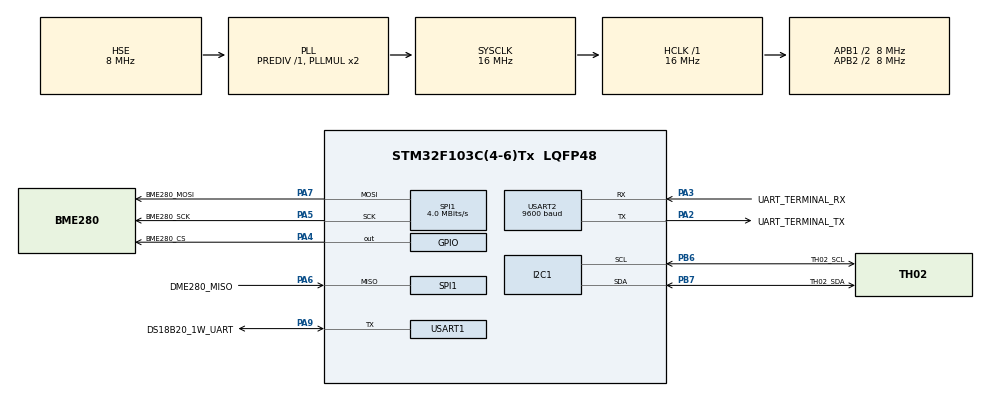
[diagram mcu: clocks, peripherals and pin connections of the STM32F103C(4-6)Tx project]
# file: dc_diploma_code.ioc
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Dma.Request0=USART2_RX
Dma.USART2_RX.0.Direction=DMA_PERIPH_TO_MEMORY
Dma.USART2_RX.0.Instance=DMA1_Channel6
Dma.USART2_RX.0.MemDataAlignment=DMA_MDATAALIGN_BYTE
Dma.USART2_RX.0.MemInc=DMA_MINC_ENABLE
Dma.USART2_RX.0.Mode=DMA_NORMAL
Dma.USART2_RX.0.PeriphDataAlignment=DMA_PDATAALIGN_BYTE
Dma.USART2_RX.0.PeriphInc=DMA_PINC_DISABLE
Dma.USART2_RX.0.Priority=DMA_PRIORITY_LOW
I2C1.NoStretchMode=I2C_NOSTRETCH_DISABLE
Mcu.Family=STM32F1
Mcu.Name=STM32F103C(4-6)Tx
Mcu.Package=LQFP48
NVIC.DMA1_Channel6_IRQn=true\:0\:0\:false\:false\:true\:false\:true\:true
NVIC.PriorityGroup=NVIC_PRIORITYGROUP_4
NVIC.USART2_IRQn=true\:0\:0\:false\:false\:true\:false\:true\:true
PA13.Mode=Serial_Wire
PA13.Signal=SYS_JTMS-SWDIO
PA14.Mode=Serial_Wire
PA14.Signal=SYS_JTCK-SWCLK
PA2.GPIO_Label=UART_TERMINAL_TX
PA2.Mode=Asynchronous
PA2.Signal=USART2_TX
PA3.GPIO_Label=UART_TERMINAL_RX
PA3.Mode=Asynchronous
PA3.Signal=USART2_RX
PA4.GPIO_Label=BME280_CS
PA4.Signal=GPIO_Output
PA5.GPIO_Label=BME280_SCK
PA5.Mode=Full_Duplex_Master
PA5.Signal=SPI1_SCK
PA6.GPIO_Label=DME280_MISO
PA6.Mode=Full_Duplex_Master
PA6.Signal=SPI1_MISO
PA7.GPIO_Label=BME280_MOSI
PA7.Mode=Full_Duplex_Master
PA7.Signal=SPI1_MOSI
PA9.GPIO_Label=DS18B20_1W_UART
PA9.Mode=Half_duplex(single_wire_mode)
PA9.Signal=USART1_TX
PB6.GPIO_Label=TH02_SCL
PB6.Mode=I2C
PB6.Signal=I2C1_SCL
PB7.GPIO_Label=TH02_SDA
PB7.Mode=I2C
PB7.Signal=I2C1_SDA
PD0-OSC_IN.Mode=HSE-External-Oscillator
PD0-OSC_IN.Signal=RCC_OSC_IN
PD1-OSC_OUT.Mode=HSE-External-Oscillator
PD1-OSC_OUT.Signal=RCC_OSC_OUT
ProjectManager.HeapSize=0x200
ProjectManager.StackSize=0x400
ProjectManager.TargetToolchain=CMake
RCC.AHBFreq_Value=16000000
RCC.APB1CLKDivider=RCC_HCLK_DIV2
RCC.APB1Freq_Value=8000000
RCC.APB1TimFreq_Value=16000000
RCC.APB2CLKDivider=RCC_HCLK_DIV2
RCC.APB2Freq_Value=8000000
RCC.APB2TimFreq_Value=16000000
RCC.HCLKFreq_Value=16000000
RCC.PLLSourceVirtual=RCC_PLLSOURCE_HSE
RCC.SYSCLKFreq_VALUE=16000000
RCC.SYSCLKSource=RCC_SYSCLKSOURCE_PLLCLK
RCC.USBFreq_Value=16000000
SPI1.CalculateBaudRate=4.0 MBits/s
SPI1.Direction=SPI_DIRECTION_2LINES
SPI1.Mode=SPI_MODE_MASTER
SPI1.VirtualType=VM_MASTER
USART1.VirtualMode=VM_ASYNC
USART2.BaudRate=9600
USART2.VirtualMode=VM_ASYNC
board=custom

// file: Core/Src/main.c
/* USER CODE BEGIN Header */
/**
  ******************************************************************************
  * @file           : main.c
  * @brief          : Main program body
  ******************************************************************************
  * @attention
  *
  * Copyright (c) 2025 STMicroelectronics.
  * All rights reserved.
  *
  * This software is licensed under terms that can be found in the LICENSE file
  * in the root directory of this software component.
  * If no LICENSE file comes with this software, it is provided AS-IS.
  *
  ******************************************************************************
  */
/* USER CODE END Header */
#include "main.h"
#include "ds18b20.h"
#include "uart_term.h"

I2C_HandleTypeDef hi2c1;

SPI_HandleTypeDef hspi1;

UART_HandleTypeDef huart1;
UART_HandleTypeDef huart2;
DMA_HandleTypeDef hdma_usart2_rx;

void SystemClock_Config(void);
static void MX_GPIO_Init(void);
static void MX_DMA_Init(void);
static void MX_I2C1_Init(void);
static void MX_SPI1_Init(void);
static void MX_USART1_UART_Init(void);
static void MX_USART2_UART_Init(void);

int main(void)
{

  /* USER CODE BEGIN 1 */
  DS18B20 temperatureSensor;
  float temp = 0;
  /* USER CODE END 1 */

  /* MCU Configuration--------------------------------------------------------*/

  /* Reset of all peripherals, Initializes the Flash interface and the Systick. */
  HAL_Init();

  /* Configure the system clock */
  SystemClock_Config();

  /* Initialize all configured peripherals */
  MX_GPIO_Init();
  MX_DMA_Init();
  MX_I2C1_Init();
  MX_SPI1_Init();
  MX_USART1_UART_Init();
  MX_USART2_UART_Init();
  /* USER CODE BEGIN 2 */

  DS18B20_Init(&temperatureSensor, &huart1);
  DS18B20_InitializationCommand(&temperatureSensor);
  DS18B20_ReadRom(&temperatureSensor);
  DS18B20_ReadScratchpad(&temperatureSensor);

  uint8_t settings[3];
  settings[0] = temperatureSensor.temperatureLimitHigh;
  settings[1] = temperatureSensor.temperatureLimitLow;
  settings[2] = DS18B20_12_BITS_CONFIG;
  DS18B20_InitializationCommand(&temperatureSensor);
  DS18B20_SkipRom(&temperatureSensor);
  DS18B20_WriteScratchpad(&temperatureSensor, settings);

  /* USER CODE END 2 */

  /* Infinite loop */
  while (1)
  {

    /* USER CODE BEGIN 3 */
    DS18B20_InitializationCommand(&temperatureSensor);
    DS18B20_SkipRom(&temperatureSensor);
    DS18B20_ConvertT(&temperatureSensor, DS18B20_DATA);
    DS18B20_InitializationCommand(&temperatureSensor);
    DS18B20_SkipRom(&temperatureSensor);
    DS18B20_ReadScratchpad(&temperatureSensor);
    temp = temperatureSensor.temperature;

    throw_data_uart_term(huart2,temp,0,0,0);
    HAL_Delay(1000);
  }
  /* USER CODE END 3 */
}

void SystemClock_Config(void)
{
  RCC_OscInitTypeDef RCC_OscInitStruct = {0};
  RCC_ClkInitTypeDef RCC_ClkInitStruct = {0};

  /** Initializes the RCC Oscillators according to the specified parameters
  * in the RCC_OscInitTypeDef structure.
  */
  RCC_OscInitStruct.OscillatorType = RCC_OSCILLATORTYPE_HSE;
  RCC_OscInitStruct.HSEState = RCC_HSE_ON;
  RCC_OscInitStruct.HSEPredivValue = RCC_HSE_PREDIV_DIV1;
  RCC_OscInitStruct.HSIState = RCC_HSI_ON;
  RCC_OscInitStruct.PLL.PLLState = RCC_PLL_ON;
  RCC_OscInitStruct.PLL.PLLSource = RCC_PLLSOURCE_HSE;
  RCC_OscInitStruct.PLL.PLLMUL = RCC_PLL_MUL2;
  if (HAL_RCC_OscConfig(&RCC_OscInitStruct) != HAL_OK)
  {
    Error_Handler();
  }

  /** Initializes the CPU, AHB and APB buses clocks
  */
  RCC_ClkInitStruct.ClockType = RCC_CLOCKTYPE_HCLK|RCC_CLOCKTYPE_SYSCLK
                              |RCC_CLOCKTYPE_PCLK1|RCC_CLOCKTYPE_PCLK2;
  RCC_ClkInitStruct.SYSCLKSource = RCC_SYSCLKSOURCE_PLLCLK;
  RCC_ClkInitStruct.AHBCLKDivider = RCC_SYSCLK_DIV1;
  RCC_ClkInitStruct.APB1CLKDivider = RCC_HCLK_DIV2;
  RCC_ClkInitStruct.APB2CLKDivider = RCC_HCLK_DIV2;

  if (HAL_RCC_ClockConfig(&RCC_ClkInitStruct, FLASH_LATENCY_0) != HAL_OK)
  {
    Error_Handler();
  }
}

static void MX_I2C1_Init(void)
{

  hi2c1.Instance = I2C1;
  hi2c1.Init.ClockSpeed = 100000;
  hi2c1.Init.DutyCycle = I2C_DUTYCYCLE_2;
  hi2c1.Init.OwnAddress1 = 0;
  hi2c1.Init.AddressingMode = I2C_ADDRESSINGMODE_7BIT;
  hi2c1.Init.DualAddressMode = I2C_DUALADDRESS_DISABLE;
  hi2c1.Init.OwnAddress2 = 0;
  hi2c1.Init.GeneralCallMode = I2C_GENERALCALL_DISABLE;
  hi2c1.Init.NoStretchMode = I2C_NOSTRETCH_DISABLE;
  if (HAL_I2C_Init(&hi2c1) != HAL_OK)
  {
    Error_Handler();
  }

}

static void MX_SPI1_Init(void)
{

  /* SPI1 parameter configuration*/
  hspi1.Instance = SPI1;
  hspi1.Init.Mode = SPI_MODE_MASTER;
  hspi1.Init.Direction = SPI_DIRECTION_2LINES;
  hspi1.Init.DataSize = SPI_DATASIZE_8BIT;
  hspi1.Init.CLKPolarity = SPI_POLARITY_LOW;
  hspi1.Init.CLKPhase = SPI_PHASE_1EDGE;
  hspi1.Init.NSS = SPI_NSS_SOFT;
  hspi1.Init.BaudRatePrescaler = SPI_BAUDRATEPRESCALER_2;
  hspi1.Init.FirstBit = SPI_FIRSTBIT_MSB;
  hspi1.Init.TIMode = SPI_TIMODE_DISABLE;
  hspi1.Init.CRCCalculation = SPI_CRCCALCULATION_DISABLE;
  hspi1.Init.CRCPolynomial = 10;
  if (HAL_SPI_Init(&hspi1) != HAL_OK)
  {
    Error_Handler();
  }

}

static void MX_USART1_UART_Init(void)
{

  huart1.Instance = USART1;
  huart1.Init.BaudRate = 115200;
  huart1.Init.WordLength = UART_WORDLENGTH_8B;
  huart1.Init.StopBits = UART_STOPBITS_1;
  huart1.Init.Parity = UART_PARITY_NONE;
  huart1.Init.Mode = UART_MODE_TX_RX;
  huart1.Init.HwFlowCtl = UART_HWCONTROL_NONE;
  huart1.Init.OverSampling = UART_OVERSAMPLING_16;
  if (HAL_HalfDuplex_Init(&huart1) != HAL_OK)
  {
    Error_Handler();
  }

}

static void MX_USART2_UART_Init(void)
{

  huart2.Instance = USART2;
  huart2.Init.BaudRate = 9600;
  huart2.Init.WordLength = UART_WORDLENGTH_8B;
  huart2.Init.StopBits = UART_STOPBITS_1;
  huart2.Init.Parity = UART_PARITY_NONE;
  huart2.Init.Mode = UART_MODE_TX_RX;
  huart2.Init.HwFlowCtl = UART_HWCONTROL_NONE;
  huart2.Init.OverSampling = UART_OVERSAMPLING_16;
  if (HAL_UART_Init(&huart2) != HAL_OK)
  {
    Error_Handler();
  }

}

static void MX_DMA_Init(void)
{

  /* DMA controller clock enable */
  __HAL_RCC_DMA1_CLK_ENABLE();

  /* DMA interrupt init */
  /* DMA1_Channel6_IRQn interrupt configuration */
  HAL_NVIC_SetPriority(DMA1_Channel6_IRQn, 0, 0);
  HAL_NVIC_EnableIRQ(DMA1_Channel6_IRQn);

}

static void MX_GPIO_Init(void)
{
  GPIO_InitTypeDef GPIO_InitStruct = {0};

  /* GPIO Ports Clock Enable */
  __HAL_RCC_GPIOD_CLK_ENABLE();
  __HAL_RCC_GPIOA_CLK_ENABLE();
  __HAL_RCC_GPIOB_CLK_ENABLE();

  /*Configure GPIO pin Output Level */
  HAL_GPIO_WritePin(BME280_CS_GPIO_Port, BME280_CS_Pin, GPIO_PIN_RESET);

  /*Configure GPIO pin : BME280_CS_Pin */
  GPIO_InitStruct.Pin = BME280_CS_Pin;
  GPIO_InitStruct.Mode = GPIO_MODE_OUTPUT_PP;
  GPIO_InitStruct.Pull = GPIO_NOPULL;
  GPIO_InitStruct.Speed = GPIO_SPEED_FREQ_LOW;
  HAL_GPIO_Init(BME280_CS_GPIO_Port, &GPIO_InitStruct);

}

void Error_Handler(void)
{
  __disable_irq();
  while (1)
  {
  }
}
